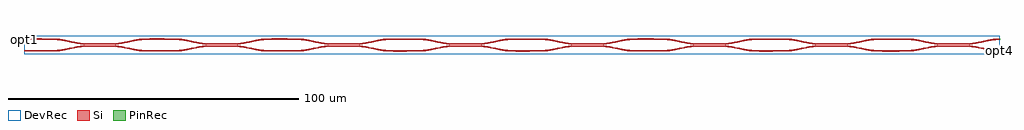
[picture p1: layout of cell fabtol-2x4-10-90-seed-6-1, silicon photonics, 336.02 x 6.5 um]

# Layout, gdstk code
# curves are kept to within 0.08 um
import gdstk
lib = gdstk.Library(unit=1e-6, precision=1e-09)
def R(c, l, rs):  # rectangles x0, y0, x1, y1
    for r in rs: c.add(gdstk.rectangle(r[:2], r[2:], *l))
def P(c, l, *ps):  # polygons
    for p in ps: c.add(gdstk.Polygon(p, *l))
Si = (1, 0)
PinRec = (1, 10)
DevRec = (68, 0)

layer_3_0_phase_sec_3_39 = lib.new_cell('layer-3_0_phase_sec_3$39')
P(layer_3_0_phase_sec_3_39, Si, [(5.912,-0.248),(0,-0.225),(0,0.225),(10,0.225),(10,-0.225)])

layer_3_0_phase_sec_2_39 = lib.new_cell('layer-3_0_phase_sec_2$39')
P(layer_3_0_phase_sec_2_39, Si, [(2.704,-0.231),(0,-0.225),(0,0.225),(10,0.225),(10,-0.225)])

layer_3_0_phase_sec_0_39 = lib.new_cell('layer-3_0_phase_sec_0$39')
P(layer_3_0_phase_sec_0_39, Si, [(5.427,-0.232),(0,-0.225),(0,0.225),(10,0.225),(10,-0.225)])

layer_0_0_phase_sec_0_39 = lib.new_cell('layer-0_0_phase_sec_0$39')
P(layer_0_0_phase_sec_0_39, Si, [(3.038,-0.239),(0,-0.225),(0,0.225),(10,0.225),(10,-0.225)])

dc_arm_down_39 = lib.new_cell('dc_arm_down$39')
R(dc_arm_down_39, Si, [(12,-0.55,20,-0.1)])
P(dc_arm_down_39, Si, [(32,-2.225),(30.861,-2.188),(29.344,-2.033),(22.966,-0.793),(21.481,-0.613),(20,-0.55),(20,-0.1),(21.139,-0.137),(22.656,-0.292),(29.034,-1.532),(30.519,-1.712),(32,-1.775)],
  [(0,-2.225),(0,-1.775),(1.481,-1.712),(2.966,-1.532),(9.344,-0.292),(10.861,-0.137),(12,-0.1),(12,-0.55),(10.519,-0.613),(9.034,-0.793),(2.656,-2.033),(1.139,-2.188)])

dc_arm_up_39 = lib.new_cell('dc_arm_up$39')
R(dc_arm_up_39, Si, [(12,0.1,20,0.55)])
P(dc_arm_up_39, Si, [(20,0.1),(20,0.55),(21.481,0.613),(22.966,0.793),(29.344,2.033),(30.861,2.188),(32,2.225),(32,1.775),(30.519,1.712),(29.034,1.532),(22.656,0.292),(21.139,0.137)],
  [(12,0.1),(10.861,0.137),(9.344,0.292),(2.966,1.532),(1.481,1.712),(0,1.775),(0,2.225),(1.139,2.188),(2.656,2.033),(9.034,0.793),(10.519,0.613),(12,0.55)])

dc_39 = lib.new_cell('dc$39')
dc_39.add(gdstk.Reference(dc_arm_down_39, (0,0)))
dc_39.add(gdstk.Reference(dc_arm_up_39, (0,0)))

layer_1_0_phase_sec_2_39 = lib.new_cell('layer-1_0_phase_sec_2$39')
P(layer_1_0_phase_sec_2_39, Si, [(1.386,-0.236),(0,-0.225),(0,0.225),(10,0.225),(10,-0.225)])

layer_0_0_phase_sec_3_39 = lib.new_cell('layer-0_0_phase_sec_3$39')
P(layer_0_0_phase_sec_3_39, Si, [(3.937,-0.234),(0,-0.225),(0,0.225),(10,0.225),(10,-0.225)])

layer_1_0_phase_sec_3_39 = lib.new_cell('layer-1_0_phase_sec_3$39')
P(layer_1_0_phase_sec_3_39, Si, [(3.411,-0.244),(0,-0.225),(0,0.225),(10,0.225),(10,-0.225)])

layer_3_0_phase_sec_1_39 = lib.new_cell('layer-3_0_phase_sec_1$39')
P(layer_3_0_phase_sec_1_39, Si, [(2.31,-0.246),(0,-0.225),(0,0.225),(10,0.225),(10,-0.225)])

layer_1_0_phase_sec_0_39 = lib.new_cell('layer-1_0_phase_sec_0$39')
P(layer_1_0_phase_sec_0_39, Si, [(1.338,-0.25),(0,-0.225),(0,0.225),(10,0.225),(10,-0.225)])

layer_2_0_phase_sec_0_39 = lib.new_cell('layer-2_0_phase_sec_0$39')
P(layer_2_0_phase_sec_0_39, Si, [(5.459,-0.236),(0,-0.225),(0,0.225),(10,0.225),(10,-0.225)])

layer_0_0_phase_sec_1_39 = lib.new_cell('layer-0_0_phase_sec_1$39')
P(layer_0_0_phase_sec_1_39, Si, [(4.192,-0.228),(0,-0.225),(0,0.225),(10,0.225),(10,-0.225)])

layer_2_0_phase_sec_1_39 = lib.new_cell('layer-2_0_phase_sec_1$39')
P(layer_2_0_phase_sec_1_39, Si, [(4.939,-0.244),(0,-0.225),(0,0.225),(10,0.225),(10,-0.225)])

layer_1_0_phase_sec_1_39 = lib.new_cell('layer-1_0_phase_sec_1$39')
P(layer_1_0_phase_sec_1_39, Si, [(1.019,-0.228),(0,-0.225),(0,0.225),(10,0.225),(10,-0.225)])

layer_2_0_phase_sec_2_39 = lib.new_cell('layer-2_0_phase_sec_2$39')
P(layer_2_0_phase_sec_2_39, Si, [(1.364,-0.242),(0,-0.225),(0,0.225),(10,0.225),(10,-0.225)])

layer_0_0_phase_sec_2_39 = lib.new_cell('layer-0_0_phase_sec_2$39')
P(layer_0_0_phase_sec_2_39, Si, [(1.242,-0.244),(0,-0.225),(0,0.225),(10,0.225),(10,-0.225)])

layer_2_0_phase_sec_3_39 = lib.new_cell('layer-2_0_phase_sec_3$39')
P(layer_2_0_phase_sec_3_39, Si, [(2.21,-0.236),(0,-0.225),(0,0.225),(10,0.225),(10,-0.225)])

fabtol_2x4_10_90_seed_6_ = lib.new_cell('fabtol-2x4-10-90-seed-6-1')
R(fabtol_2x4_10_90_seed_6_, DevRec, [(0,-1,336,5.498)])
fabtol_2x4_10_90_seed_6_.add(gdstk.FlexPath([(335.99,0.248),(336.01,0.248)], 0.45, ends="flush", simple_path=True, layer=1, datatype=10))  # PinRec
fabtol_2x4_10_90_seed_6_.add(gdstk.FlexPath([(335.99,4.248),(336.01,4.248)], 0.45, ends="flush", simple_path=True, layer=1, datatype=10))  # PinRec
fabtol_2x4_10_90_seed_6_.add(gdstk.FlexPath([(0.01,4.248),(-0.01,4.248)], 0.45, ends="flush", simple_path=True, layer=1, datatype=10))  # PinRec
fabtol_2x4_10_90_seed_6_.add(gdstk.Reference(layer_3_0_phase_sec_3_39, (294,0.248)))
fabtol_2x4_10_90_seed_6_.add(gdstk.Reference(layer_3_0_phase_sec_2_39, (294,4.248)))
fabtol_2x4_10_90_seed_6_.add(gdstk.Reference(layer_3_0_phase_sec_0_39, (252,4.248)))
fabtol_2x4_10_90_seed_6_.add(gdstk.Reference(layer_0_0_phase_sec_0_39, (0,4.248)))
fabtol_2x4_10_90_seed_6_.add(gdstk.Reference(dc_39, (10,2.248)))
fabtol_2x4_10_90_seed_6_.add(gdstk.Reference(dc_39, (52,2.248)))
fabtol_2x4_10_90_seed_6_.add(gdstk.Reference(dc_39, (94,2.248)))
fabtol_2x4_10_90_seed_6_.add(gdstk.Reference(dc_39, (136,2.248)))
fabtol_2x4_10_90_seed_6_.add(gdstk.Reference(dc_39, (178,2.248)))
fabtol_2x4_10_90_seed_6_.add(gdstk.Reference(dc_39, (220,2.248)))
fabtol_2x4_10_90_seed_6_.add(gdstk.Reference(dc_39, (262,2.248)))
fabtol_2x4_10_90_seed_6_.add(gdstk.Reference(dc_39, (304,2.248)))
fabtol_2x4_10_90_seed_6_.add(gdstk.Reference(layer_1_0_phase_sec_2_39, (126,4.248)))
fabtol_2x4_10_90_seed_6_.add(gdstk.Reference(layer_0_0_phase_sec_3_39, (42,0.248)))
fabtol_2x4_10_90_seed_6_.add(gdstk.Reference(layer_1_0_phase_sec_3_39, (126,0.248)))
fabtol_2x4_10_90_seed_6_.add(gdstk.Reference(layer_3_0_phase_sec_1_39, (252,0.248)))
fabtol_2x4_10_90_seed_6_.add(gdstk.Reference(layer_1_0_phase_sec_0_39, (84,4.248)))
fabtol_2x4_10_90_seed_6_.add(gdstk.Reference(layer_2_0_phase_sec_0_39, (168,4.248)))
fabtol_2x4_10_90_seed_6_.add(gdstk.Reference(layer_0_0_phase_sec_1_39, (0,0.248)))
fabtol_2x4_10_90_seed_6_.add(gdstk.Reference(layer_2_0_phase_sec_1_39, (168,0.248)))
fabtol_2x4_10_90_seed_6_.add(gdstk.Reference(layer_1_0_phase_sec_1_39, (84,0.248)))
fabtol_2x4_10_90_seed_6_.add(gdstk.Reference(layer_2_0_phase_sec_2_39, (210,4.248)))
fabtol_2x4_10_90_seed_6_.add(gdstk.Reference(layer_0_0_phase_sec_2_39, (42,4.248)))
fabtol_2x4_10_90_seed_6_.add(gdstk.Reference(layer_2_0_phase_sec_3_39, (210,0.248)))
fabtol_2x4_10_90_seed_6_.add(gdstk.Label('opt4', (336,0.248), layer=1, texttype=10))
fabtol_2x4_10_90_seed_6_.add(gdstk.Label('opt3', (336,4.248), layer=1, texttype=10))
fabtol_2x4_10_90_seed_6_.add(gdstk.Label('opt1', (0,4.248), layer=1, texttype=10))

lib.write_gds('fabtol-2x4-10-90-seed-6-1.gds')
